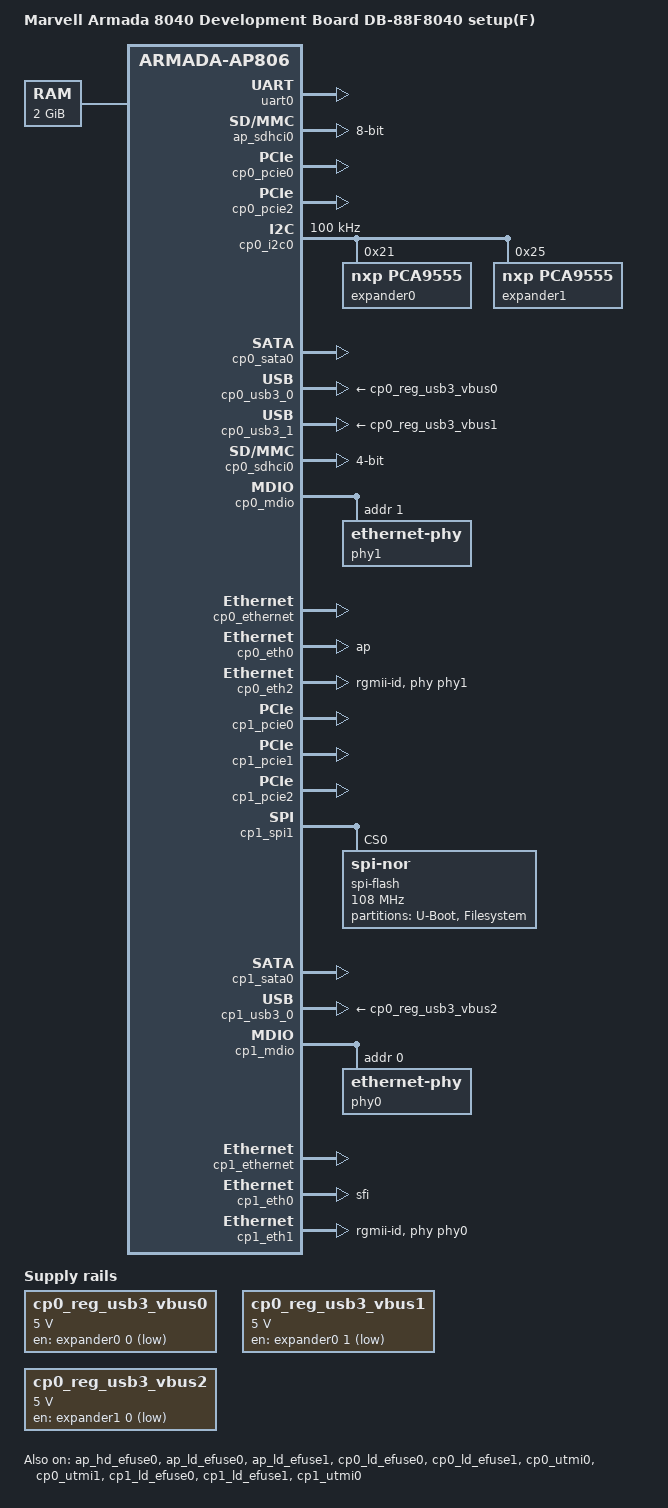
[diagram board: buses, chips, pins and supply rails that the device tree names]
// SPDX-License-Identifier: GPL-2.0+
/*
 * Copyright (C) 2018 Marvell International Ltd.
 */

/*
 * Device Tree file for Marvell Armada 8040 Development board platform
 */

#include "armada-8040.dtsi"

/ {
	model = "Marvell Armada 8040 Development Board DB-88F8040 setup(F)";
	compatible = "marvell,armada8040-db", "marvell,armada8040",
		     "marvell,armada-ap806-quad", "marvell,armada-ap806";

	chosen {
		stdout-path = "serial0:115200n8";
	};

	aliases {
		i2c0 = &cp0_i2c0;
		spi0 = &cp1_spi1;
		fuse1 = &ap_ld_efuse0;
		fuse2 = &ap_ld_efuse1;
		fuse3 = &cp0_ld_efuse0;
		fuse4 = &cp0_ld_efuse1;
		fuse5 = &cp1_ld_efuse0;
		fuse6 = &cp1_ld_efuse1;
	};

	memory@00000000 {
		device_type = "memory";
		reg = <0x0 0x0 0x0 0x80000000>;
	};

	cp0_reg_usb3_vbus0:cp0_usb3_vbus@0 {
		compatible = "regulator-fixed";
		regulator-min-microvolt = <5000000>;
		regulator-max-microvolt = <5000000>;
		startup-delay-us = <100000>;
		regulator-force-boot-off;
		gpio = <&expander0 0 GPIO_ACTIVE_HIGH>;
	};

	cp0_reg_usb3_vbus1: cp0_usb3_vbus@1 {
		compatible = "regulator-fixed";
		regulator-min-microvolt = <5000000>;
		regulator-max-microvolt = <5000000>;
		startup-delay-us = <100000>;
		regulator-force-boot-off;
		gpio = <&expander0 1 GPIO_ACTIVE_HIGH>;
	};

	/* even though this node used for enable/disable cp1 usb vbus-supply,
	 * we use "cp0" prefix since the expander is connected to cp0.
	 */
	cp0_reg_usb3_vbus2: cp0_usb3_vbus@2 {
		compatible = "regulator-fixed";
		regulator-min-microvolt = <5000000>;
		regulator-max-microvolt = <5000000>;
		startup-delay-us = <100000>;
		regulator-force-boot-off;
		gpio = <&expander1 0 GPIO_ACTIVE_HIGH>;
	};
};

/* Accessible over the mini-USB CON9 connector on the main board */
&uart0 {
	status = "okay";
};

&ap_hd_efuse0 {
	status = "okay";
};

&ap_ld_efuse0 {
	status = "okay";
};

&ap_ld_efuse1 {
	status = "okay";
};

&ap_pinctl {
	/* MPP Bus:
	 * SDIO  [0-10]
	 * UART0 [11,19]
	 */
		  /* 0 1 2 3 4 5 6 7 8 9 */
	pin-func = < 1 1 1 1 1 1 1 1 1 1
		     1 3 0 0 0 0 0 0 0 3 >;
};

&ap_sdhci0 {
	pinctrl-names = "default";
	pinctrl-0 = <&ap_emmc_pins>;
	bus-width = <8>;
	status = "okay";
};

&cp0_pinctl {
	/* MPP Bus:
	 *	[0-31]	= 0xff: Keep default CP0_shared_pins
	 *	[11]	CLKOUT_MPP_11 (out)
	 *	[23]	LINK_RD_IN_CP2CP (in)
	 *	[25]	CLKOUT_MPP_25 (out)
	 *	[29]	AVS_FB_IN_CP2CP (in)
	 *	[32,34]	GE_MDIO/MDC
	 *	[33]	GPIO: GE_INT#/push button/Wake
	 *	[35]	MSS_GPIO[3]: MSS_PWDN
	 *	[36]	MSS_GPIO[5]: MSS_VTT_EN
	 *	[37-38]	I2C0
	 *	[39]	PTP_CLK
	 *	[40-41]	SATA[0/1]_PRESENT_ACTIVEn
	 *	[42-43]	XG_MDC/XG_MDIO (XSMI)
	 *	[44-55]	RGMII1
	 *	[56-62]	SD
	 */
		/*   0    1    2    3    4    5    6    7    8    9 */
	pin-func = < 0xff 0xff 0xff 0xff 0xff 0xff 0xff 0xff 0xff 0xff
		     0xff 0xff 0xff 0xff 0xff 0xff 0xff 0xff 0xff 0xff
		     0xff 0xff 0xff 0xff 0xff 0xff 0xff 0xff 0xff 0xff
		     0xff 0xff 0x7  0x0  0x7  0xa  0xa  0x2  0x2  0x5
		     0x9  0x9  0x8  0x8  0x1  0x1  0x1  0x1  0x1  0x1
		     0x1  0x1  0x1  0x1  0x1  0x1  0xe  0xe  0xe  0xe
		     0xe  0xe  0xe>;
};

&cp0_ld_efuse0 {
	status = "okay";
};

&cp0_ld_efuse1 {
	status = "okay";
};

&cp0_comphy {
	/* Serdes Configuration:
	 *	Lane 0: PCIe0 (x1)
	 *	Lane 1: SATA0
	 *	Lane 2: SFI (10G)
	 *	Lane 3: SATA1
	 *	Lane 4: USB3_HOST1
	 *	Lane 5: PCIe2 (x1)
	 */
	phy0 {
		phy-type = <COMPHY_TYPE_PEX0>;
	};
	phy1 {
		phy-type = <COMPHY_TYPE_SATA0>;
	};
	phy2 {
		phy-type = <COMPHY_TYPE_AP>;
	};
	phy3 {
		phy-type = <COMPHY_TYPE_SATA1>;
	};
	phy4 {
		phy-type = <COMPHY_TYPE_USB3_HOST1>;
	};
	phy5 {
		phy-type = <COMPHY_TYPE_PEX2>;
	};
};

/* CON6 on CP0 expansion */
&cp0_pcie0 {
	status = "okay";
};

&cp0_pcie1 {
	status = "disabled";
};

/* CON5 on CP0 expansion */
&cp0_pcie2 {
	status = "okay";
};

&cp0_i2c0 {
	pinctrl-names = "default";
	pinctrl-0 = <&cp0_i2c0_pins>;
	status = "okay";
	clock-frequency = <100000>;
	expander0: pca953x@21 {
		compatible = "nxp,pca9555";
		#gpio-cells = <2>;
		reg = <0x21>;
		status = "okay";
	};
	expander1: pca953x@25 {
		compatible = "nxp,pca9555";
		#gpio-cells = <2>;
		reg = <0x25>;
		status = "okay";
	};
};

/* CON4 on CP0 expansion */
&cp0_sata0 {
	status = "okay";
};

/* CON9 on CP0 expansion */
&cp0_usb3_0 {
	vbus-supply = <&cp0_reg_usb3_vbus0>;
	vbus-disable-delay = <500>;
	status = "okay";
};

/* CON10 on CP0 expansion */
&cp0_usb3_1 {
	vbus-supply = <&cp0_reg_usb3_vbus1>;
	vbus-disable-delay = <500>;
	status = "okay";
};

&cp0_utmi0 {
	status = "okay";
};

&cp0_utmi1 {
	status = "okay";
};

&cp0_sdhci0 {
	pinctrl-names = "default";
	pinctrl-0 = <&cp0_sdhci_pins>;
	bus-width = <4>;
	status = "okay";
};

&cp0_mdio {
	status = "okay";
	phy1: ethernet-phy@1 {
		reg = <1>;
	};
};

&cp0_ethernet {
	status = "okay";
};

&cp0_eth0 {
	status = "okay";
	phy-mode = "ap"; /* lane-2: left for auto-neg */
};

&cp0_eth2 {
	status = "okay";
	phy = <&phy1>;
	phy-mode = "rgmii-id";
};

&cp1_pinctl {
	/* MPP Bus:
	 *	[0-11]	RGMII0
	 *	[13-16]	SPI1
	 *	[27,31]	GE_MDIO/MDC
	 *	[28]	SATA1_PRESENT_ACTIVEn
	 *	[29-30]	UART0
	 *	[32-62]	= 0xff: Keep default CP1_shared_pins
	 */
		/*   0    1    2    3    4    5    6    7    8    9 */
	pin-func = < 0x3  0x3  0x3  0x3  0x3  0x3  0x3  0x3  0x3  0x3
		     0x3  0x3  0x3  0x3  0x3  0x3  0x3  0xff 0xff 0xff
		     0xff 0xff 0xff 0xff 0xff 0xff 0xff 0x8  0x9  0xa
		     0xA  0x8  0xff 0xff 0xff 0xff 0xff 0xff 0xff 0xff
		     0xff 0xff 0xff 0xff 0xff 0xff 0xff 0xff 0xff 0xff
		     0xff 0xff 0xff 0xff 0xff 0xff 0xff 0xff 0xff 0xff
		     0xff 0xff 0xff>;
};

&cp1_ld_efuse0 {
	status = "okay";
};

&cp1_ld_efuse1 {
	status = "okay";
};

&cp1_comphy {
	/* Serdes Configuration:
	 *	Lane 0: PCIe0 (x1)
	 *	Lane 1: SATA0
	 *	Lane 2: SFI (10G)
	 *	Lane 3: SATA1
	 *	Lane 4: PCIe1 (x1)
	 *	Lane 5: PCIe2 (x1)
	 */
	phy0 {
		phy-type = <COMPHY_TYPE_PEX0>;
	};
	phy1 {
		phy-type = <COMPHY_TYPE_SATA0>;
	};
	phy2 {
		phy-type = <COMPHY_TYPE_SFI0>;
		phy-speed = <COMPHY_SPEED_10_3125G>;
	};
	phy3 {
		phy-type = <COMPHY_TYPE_SATA1>;
	};
	phy4 {
		phy-type = <COMPHY_TYPE_PEX1>;
	};
	phy5 {
		phy-type = <COMPHY_TYPE_PEX2>;
	};
};

/* CON6 on CP1 expansion */
&cp1_pcie0 {
	status = "okay";
};

&cp1_pcie1 {
	status = "okay";
};

/* CON5 on CP1 expansion */
&cp1_pcie2 {
	status = "okay";
};

&cp1_spi1 {
	pinctrl-names = "default";
	pinctrl-0 = <&cp1_spi1_pins>;
	reg = <0x700680 0x50>,		/* control */
	      <0x2000000 0x1000000>,	/* CS0 */
	      <0 0xffffffff>;		/* CS1 */
	status = "okay";

	spi-flash@0 {
		#address-cells = <1>;
		#size-cells = <1>;
		compatible = "jedec,spi-nor", "spi-flash";
		reg = <0>;
		spi-max-frequency = <108000000>;

		partitions {
			compatible = "fixed-partitions";
			#address-cells = <1>;
			#size-cells = <1>;

			partition@0 {
				label = "U-Boot";
				reg = <0 0x200000>;
			};
			partition@400000 {
				label = "Filesystem";
				reg = <0x200000 0xce0000>;
			};
		};
	};
};

/* CON4 on CP1 expansion */
&cp1_sata0 {
	status = "okay";
};

/* CON9 on CP1 expansion */
&cp1_usb3_0 {
	vbus-supply = <&cp0_reg_usb3_vbus2>;
	vbus-disable-delay = <500>;
	status = "okay";
};

&cp1_utmi0 {
	status = "okay";
};

&cp1_mdio {
	status = "okay";
	phy0: ethernet-phy@0 {
		reg = <0>;
	};
};

&cp1_ethernet {
	status = "okay";
};

&cp1_eth0 {
	status = "okay";
	phy-mode = "sfi"; /* lane-2 */
};

&cp1_eth1 {
	status = "okay";
	phy = <&phy0>;
	phy-mode = "rgmii-id";
};
